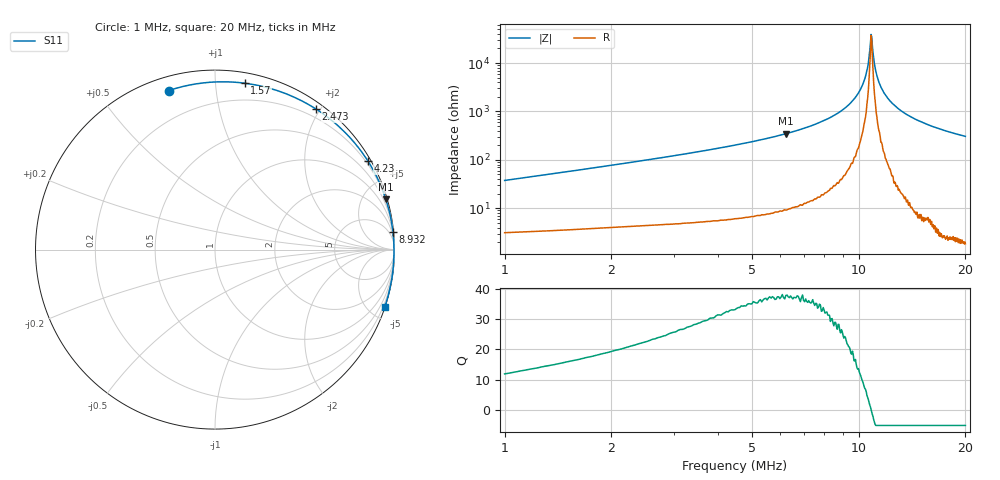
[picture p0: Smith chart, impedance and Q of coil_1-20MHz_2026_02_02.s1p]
# HZ S RI R 50
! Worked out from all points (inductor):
!   401 points, 1 MHz to 20 MHz, reference 50 ohm
!   read as one part to ground: L = 5.92 uH near 1.095 MHz
!   highest Q = 37.3 at 6.225 MHz (marker M1), where L = 8.86 uH
!   self-resonance near 10.83 MHz
!   S11 on the Smith chart (normalised r, x): 1 MHz: 0.06, +0.75; 1.57 MHz: 0.07, +1.19; 2.473 MHz: 0.09, +1.95; 4.23 MHz: 0.11, +3.73; 8.932 MHz: 1, +21; 20 MHz: 0.04, -6.11
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1000000  -0.2577 0.8862
1047500  -0.2171 0.8986
1095000  -0.1777 0.9091
1190000  -0.1008 0.924
1285000  -0.0281 0.9324
1427500  0.0738 0.9343
1570000  0.1663 0.927
1760000  0.275 0.9065
1997500  0.3896 0.8706
2235000  0.4845 0.8282
2472500  0.5626 0.7832
2662500  0.6151 0.747
2900000  0.6705 0.703
3137500  0.7171 0.6604
3375000  0.7557 0.6199
3755000  0.8058 0.5596
4230000  0.8529 0.4922
4942500  0.9016 0.4049
5750000  0.9374 0.3224
6225000  0.9522 0.2803
7080000  0.971 0.2132
8125000  0.9852 0.1433
8932500  0.9917 0.0963
1.05e7  0.9972 0.0159
1.2875e7  0.9943 -0.0851
1.525e7  0.9835 -0.1718
1.7625e7  0.9671 -0.2485
2e7  0.9461 -0.318
